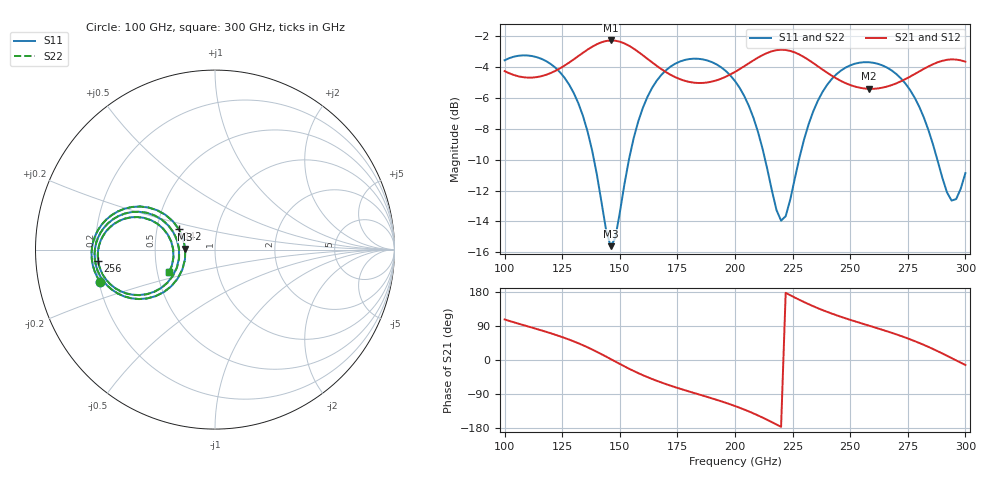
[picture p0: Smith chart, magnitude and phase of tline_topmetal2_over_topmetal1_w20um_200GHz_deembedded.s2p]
! Created with skrf 2.2.0 (http://scikit-rf.org).
# GHz S DB R 50.0
! Port[1] = P1
! Port[2] = P2
!freq dBS11 angS11 dBS21 angS21 dBS12 angS12 dBS22 angS22
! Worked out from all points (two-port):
!   101 points, 100 GHz to 300 GHz, reference 50 ohm
!   highest |S21| = -2.27 dB at 146 GHz (marker M1); lowest = -5.4 dB at 258 GHz (marker M2)
!   |S21| within 3 dB of the highest: start of sweep to 252.4 GHz; 265.6 GHz to end of sweep
!   lowest |S11| = -15.6 dB at 146 GHz (marker M3), VSWR 1.40, Z = 35.8 + j0.312 ohm
!   |S11| at or under -10 dB: 138.8 GHz to 154 GHz (15.17 GHz wide, 10.4 % of centre); 213.1 GHz to 227.8 GHz (14.71 GHz wide, 6.67 % of centre); 287.8 GHz to end of sweep
!   |S22| runs from -15.6 to -3.2 dB; largest |S21 - S12| = 6.6e-14
!   S11 on the Smith chart (normalised r, x): 100 GHz: 0.21, -0.13; 142 GHz: 0.65, +0.16; 256 GHz: 0.21, -0.04; 300 GHz: 0.58, -0.16
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100  -3.56 -164.0  -4.26 107.0  -4.26 107.0  -3.56 -164.1
108  -3.24 -175.7  -4.65 92.4  -4.65 92.4  -3.24 -175.7
118  -3.61 170.3  -4.50 74.4  -4.50 74.4  -3.61 170.3
134  -7.16 147.7  -3.07 39.0  -3.07 39.0  -7.16 147.6
142  -12.70 150.5  -2.39 15.5  -2.39 15.5  -12.71 150.4
146  -15.60 178.5  -2.27 2.6  -2.27 2.6  -15.61 178.5
148  -15.09 -162.0  -2.29 -3.9  -2.29 -3.9  -15.10 -162.0
156  -8.62 -140.3  -2.80 -28.9  -2.80 -28.9  -8.62 -140.3
168  -4.51 -155.8  -4.13 -59.3  -4.13 -59.3  -4.51 -155.8
184  -3.46 -178.0  -5.03 -90.2  -5.03 -90.2  -3.46 -178.0
200  -4.90 160.8  -4.31 -121.5  -4.31 -121.5  -4.90 160.7
210  -8.21 150.6  -3.38 -146.3  -3.38 -146.3  -8.22 150.5
220  -13.95 179.8  -2.88 -176.5  -2.88 -176.5  -14.00 179.8
226  -11.19 -148.3  -3.05 164.7  -3.05 164.7  -11.22 -148.1
234  -6.85 -146.9  -3.74 141.8  -3.74 141.8  -6.86 -146.7
246  -4.22 -161.8  -4.90 114.0  -4.90 114.0  -4.23 -161.7
256  -3.68 -174.6  -5.38 94.7  -5.38 94.7  -3.69 -174.5
258  -3.69 -177.1  -5.41 90.9  -5.41 90.9  -3.69 -177.0
268  -4.22 170.5  -5.17 71.8  -5.17 71.8  -4.22 170.6
284  -8.10 155.3  -3.95 34.4  -3.95 34.4  -8.10 155.3
294  -12.65 179.7  -3.50 5.1  -3.50 5.1  -12.66 179.7
300  -10.87 -153.7  -3.65 -13.2  -3.65 -13.2  -10.88 -153.6
